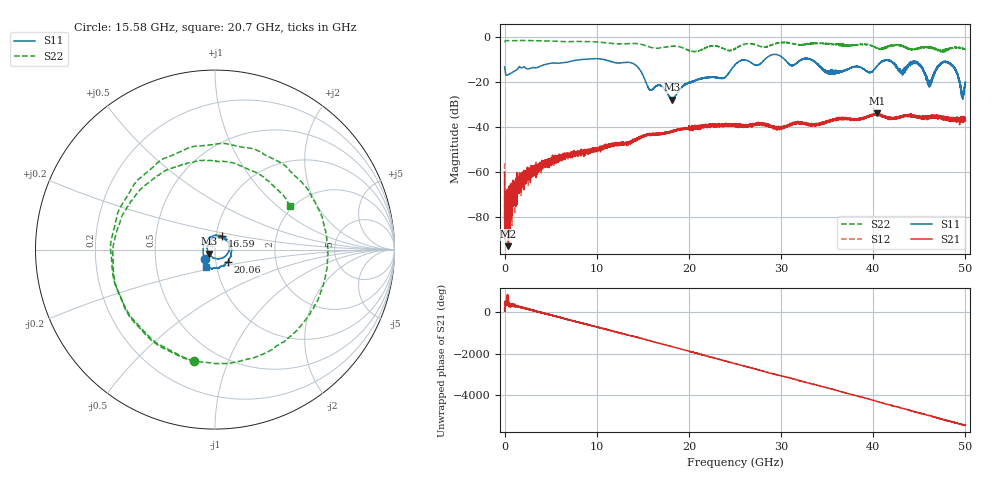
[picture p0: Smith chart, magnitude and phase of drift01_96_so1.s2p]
!Created with skrf (http://scikit-rf.org).
# Hz S RI R 50.0
!freq ReS11 ImS11 ReS21 ImS21 ReS12 ImS12 ReS22 ImS22
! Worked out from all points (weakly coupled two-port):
!   10001 points, 300 kHz to 50 GHz, reference 50 ohm
!   highest |S21| = -33.93 dB at 40.39 GHz (marker M1); lowest = -93.2 dB at 415.3 MHz (marker M2)
!   lowest |S11| = -27.8 dB at 18.14 GHz (marker M3), VSWR 1.08, Z = 46.7 - j2.12 ohm
!   |S11| at or under -10 dB: 10.91 GHz to 25.98 GHz (15.07 GHz wide, 81.7 % of centre); 33.37 GHz to 41.56 GHz (8.194 GHz wide, 21.9 % of centre); 41.6 GHz to end of sweep (the widest 3 of 20)
!   |S22| runs from -6.5 to -1.4 dB; largest |S21 - S12| = 0.0036
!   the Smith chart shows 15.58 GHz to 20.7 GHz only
!   S11 on the Smith chart (normalised r, x): 15.58 GHz: 0.89, -0.10; 16.59 GHz: 1.07, +0.16; 20.06 GHz: 1.14, -0.16; 20.7 GHz: 0.88, -0.17
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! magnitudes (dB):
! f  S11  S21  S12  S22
! 300 kHz  -13.1  -60.1  -56.2  -2.1
! 255.3 MHz  -16.9  -75.2  -74.7  -1.4
! 415.3 MHz  -16.6  -93.2  -69.8  -1.4
! 3.24 GHz  -13.6  -59.1  -58.5  -1.5
! 8.335 GHz  -9.9  -50.4  -50.5  -1.8
! 13.87 GHz  -11.5  -46.5  -46.4  -2.7
! 15.58 GHz  -22.3  -43.3  -43.3  -4.0
! 16.59 GHz  -21.5  -43.5  -42.9  -4.8
! 16.67 GHz  -21.3  -43.5  -43.2  -4.8
! 18.14 GHz  -27.8  -41.9  -42.0  -3.9
! 20.06 GHz  -20.2  -40.6  -40.3  -6.0
! 20.7 GHz  -19.1  -40.2  -40.6  -6.3
! 25 GHz  -12.2  -39.9  -39.4  -5.1
! 33.34 GHz  -10.0  -39.2  -39.0  -2.7
! 35.1 GHz  -15.9  -37.4  -37.4  -2.8
! 40.39 GHz  -12.8  -33.9  -34.6  -4.9
! 41.67 GHz  -10.4  -35.6  -36.2  -4.1
! 43.07 GHz  -15.5  -35.4  -35.5  -3.7
! 44.8 GHz  -11.2  -35.1  -35.5  -4.9
! 46.11 GHz  -21.4  -35.7  -35.6  -4.4
! 48.09 GHz  -11.2  -36.6  -36.1  -5.0
! 50 GHz  -21.4  -37.2  -35.8  -5.4
